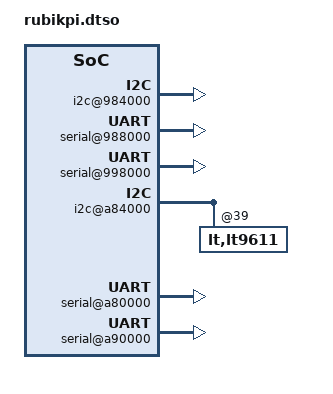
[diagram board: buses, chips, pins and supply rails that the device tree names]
// SPDX-License-Identifier: BSD-3-Clause
/*
 * Copyright (c) 2025 Thundercomm, Inc. All rights reserved.
 */
 /dts-v1/;
 /plugin/;
 
 &soc {
    geniqup@9c0000 {
        i2c@984000 {
       status = "okay";
   };//i2c1
        i2c@98c000 {
       status = "disable";
   };//i2c3
        i2c@988000 {
       status = "disable";
   };//i2c2
        spi@988000 {
       status = "disable";
       spidev@0 {
	       compatible = "qcom,spidev";
	       spi-max-frequency = <50000000>;
	       reg = <0>;
       };
   };//spi2
        serial@988000 {
       status = "okay";
   };//uart2
        
        i2c@998000 {
       status = "disable";
   };//i2c6
        spi@998000 {
       status = "disable";
       spidev@0 {
	       compatible = "qcom,spidev";
	       spi-max-frequency = <50000000>;
	       reg = <0>;
       };
   };//spi6
        serial@998000 {
       status = "okay";
   };//uart6
    };
    geniqup@ac0000 {
        i2c@a84000 {
            lt,lt9611@39 {
                config-mode = "edidAdaptiveResolution";
            };
        };//i2c8
        i2c@a80000 {
            status = "disable";
        };//i2c8
        spi@a80000 {
            status = "disable";
	    spidev@0 {
		    compatible = "qcom,spidev";
		    spi-max-frequency = <50000000>;
		    reg = <0>;
	    };
        };//spi8
        serial@a80000 {
            status = "okay";
        };//uart8
        
        i2c@a90000 {
            status = "disable";
        };//i2c12
        spi@a90000 {
            status = "disable";
	    spidev@0 {
		    compatible = "qcom,spidev";
		    spi-max-frequency = <50000000>;
		    reg = <0>;
	    };
        };//spi12
        serial@a90000 {
            status = "okay";
        };//uart12
    };
};
&sound {
pinctrl-0 = <&mi2s0_data0_sleep>, <&mi2s0_data1_sleep>, <&mi2s0_mclk>, <&mi2s0_sclk_sleep>, <&mi2s0_ws_sleep>, <&lpass_ext_mas_clk1_a_sleep>, <&lpass_qua_mi2s_sclk_sleep>, <&lpass_qua_mi2s_ws_sleep>, <&lpass_qua_mi2s_data0_sleep>, <&lpass_qua_mi2s_data1_sleep>, <&lpass_qua_mi2s_data2_sleep>, <&lpass_qua_mi2s_data3_sleep>, <&lpass_lpi_i2s1_clk_sleep>, <&lpass_lpi_i2s1_ws_sleep>, <&lpass_lpi_i2s1_data0_sleep>, <&lpass_lpi_i2s1_data1_sleep>, <&mi2s2_sclk_sleep>, <&mi2s2_ws_sleep>, <&mi2s2_data0_sleep>, <&mi2s2_data1_sleep>;
pinctrl-1 = <&mi2s0_data0>, <&mi2s0_data1>, <&mi2s0_mclk>, <&mi2s0_sclk>, <&mi2s0_ws>, <&lpass_ext_mas_clk1_a>, <&lpass_qua_mi2s_sclk>, <&lpass_qua_mi2s_ws>, <&lpass_qua_mi2s_data0>, <&lpass_qua_mi2s_data1>, <&lpass_qua_mi2s_data2>, <&lpass_qua_mi2s_data3>, <&lpass_lpi_i2s1_clk>, <&lpass_lpi_i2s1_ws>, <&lpass_lpi_i2s1_data0>, <&lpass_lpi_i2s1_data1>, <&mi2s2_sclk>, <&mi2s2_ws>, <&mi2s2_data0>, <&mi2s2_data1>;
pinctrl-2 = <&mi2s0_data0_sleep>, <&mi2s0_data1_sleep>, <&mi2s0_mclk>, <&mi2s0_sclk_sleep>, <&mi2s0_ws_sleep>, <&lpass_ext_mas_clk1_a_sleep>, <&lpass_qua_mi2s_sclk_sleep>, <&lpass_qua_mi2s_ws_sleep>, <&lpass_qua_mi2s_data0_sleep>, <&lpass_qua_mi2s_data1_sleep>, <&lpass_qua_mi2s_data2_sleep>, <&lpass_qua_mi2s_data3_sleep>, <&lpass_lpi_i2s1_clk_sleep>, <&lpass_lpi_i2s1_ws_sleep>, <&lpass_lpi_i2s1_data0_sleep>, <&lpass_lpi_i2s1_data1_sleep>, <&mi2s2_sclk_sleep>, <&mi2s2_ws_sleep>, <&mi2s2_data0_sleep>, <&mi2s2_data1_sleep>;
};
/ {
    fragment@0 {
        target-path = "/";
        __overlay__ {
            chosen { 
			stdout-path = "serial0:115200n8"; 
			bootargs = "root=/dev/disk/by-partlabel/system rw rootwait console=ttyMSM0,115200n8 earlycon pcie_pme=nomsi kernel.sched_pelt_multiplier=4 rcupdate.rcu_expedited=1 rcu_nocbs=0-7 kpti=off kasan=off kasan.stacktrace=off no-steal-acc  swiotlb=128 mitigations=auto net.ifnames=0";
		};
        };
    };
};
